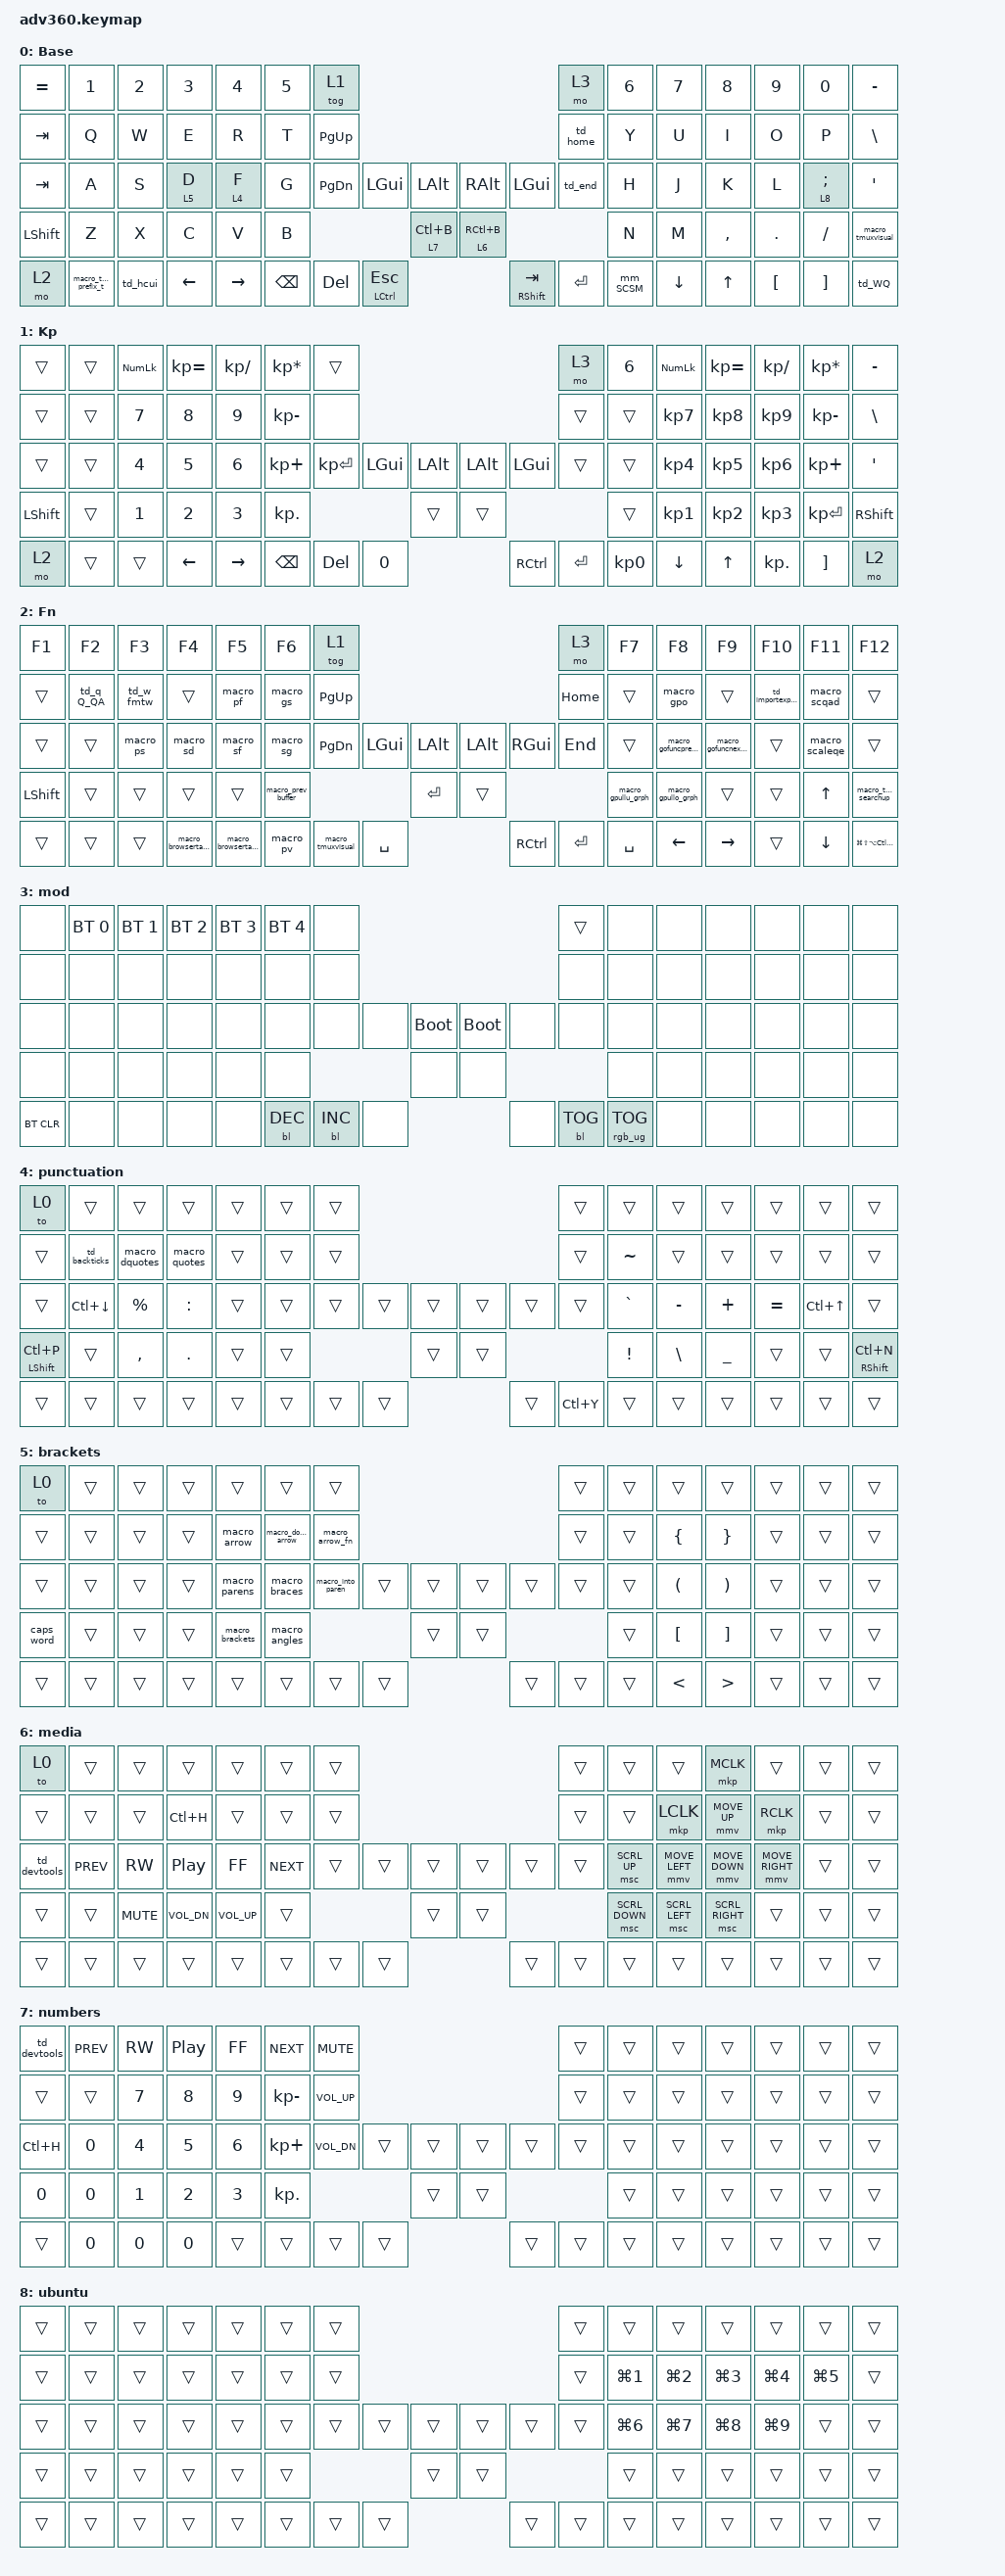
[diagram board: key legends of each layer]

/*
 * Copyright (c) 2020 The ZMK Contributors
 *
 * SPDX-License-Identifier: MIT
 */


/* THIS FILE WAS GENERATED!
 *
 * This file was generated automatically. You may or may not want to
 * edit it directly.
 */

#include <behaviors.dtsi>
#include <dt-bindings/zmk/keys.h>
#include <dt-bindings/zmk/bt.h>
#include <dt-bindings/zmk/backlight.h>
#include <dt-bindings/zmk/rgb.h>

/* Mouse Click Support
Reference: &mkp
|  ---------  |  ---------------|
|  MB1, LCLK  |  Left click     |
|  MB2, RCLK  |  Right click    |
|  MB3, MCLK  |  Middle click   |
|  MB4        |  Mouse button 4 |
|  MB5        |  Mouse button 5 |
*/

/* Mouse Move Support
Reference: &mmv
|  ---         |  ---         |
|  MOVE_UP     |  Move up     |
|  MOVE_DOWN   |  Move down   |
|  MOVE_LEFT   |  Move left   |
|  MOVE_RIGHT  |  Move right  |
Additionally, if you want to pass a different max speed than the
default for the MOVE_* defines, custom X and Y velocity values can be passed
with MOVE_X and MOVE_Y, e.g. MOVE_X(100) or MOVE_Y(-100). Positive values
indicate movement directions right or down. Note that the default value
of the max speed depends on the value of ZMK_POINTING_DEFAULT_MOVE_VAL.
*/

/* Mouse Scroll Support
Reference: &msc
SCRL_UP	Scroll up
SCRL_DOWN	Scroll down
SCRL_LEFT	Scroll left
SCRL_RIGHT	Scroll right
Additionally, if you want to pass a different max speed than the default
for the SCRL_* defines, custom X and Y velocity values can be passed
with MOVE_X and MOVE_Y, e.g. MOVE_X(5) or MOVE_Y(-5). Positive values
indicate scroll directions right or up. Note that the default value of
the max speed depends on the value of ZMK_POINTING_DEFAULT_SCRL_VAL.
*/

/*
Should you wish to override the default movement or scrolling max velocities,
you must define the defaults BEFORE including the header
*/
#define ZMK_POINTING_DEFAULT_MOVE_VAL 1100  // default: 600
#define ZMK_POINTING_DEFAULT_SCRL_VAL 15    // default: 10

#include <dt-bindings/zmk/pointing.h>

/ {
  behaviors {
    #include "macros.dtsi"
    #include "version.dtsi"

    hm: homerow_mods {
        compatible = "zmk,behavior-hold-tap";
        //label = "HOMEROW_MODS"; //deprecated
        #binding-cells = <2>;
        tapping-term-ms = <200>;
        //quick_tap_ms = <175>;  //deprecated
        flavor = "tap-preferred";
        bindings = <&kp>, <&kp>;
    };

    /*
    mm_MU: "modmap: minus underscore"
    Default:    MINUS
    +CTRL:      UNDERSCORE
    */
    mm_MU: mm_MU {
        compatible = "zmk,behavior-mod-morph";
        #binding-cells = <0>;
        bindings = <&kp MINUS>, <&kp UNDERSCORE>;
        mods = <(MOD_LCTL|MOD_RCTL)>;
    };

    /*
    mm_SMU: "modmap: space minus underscore"
    Default:    SPACE
    +SHFT:      MINUS
    +SHFT+CTRL: UNDERSCORE
    */
    mm_SMU: mm_SMU {
        compatible = "zmk,behavior-mod-morph";
        #binding-cells = <0>;
        bindings = <&kp SPACE>, <&mm_MU>;
        mods = <(MOD_LSFT|MOD_RSFT)>;
    };

    /*
    mm_SM: "modmap: space minus"
    Default:    SPACE
    +SHIFT:     MINUS
    */
    mm_SM: mm_SM {
        compatible = "zmk,behavior-mod-morph";
        #binding-cells = <0>;
        bindings = <&kp SPACE>, <&kp MINUS>;
        mods = <(MOD_LSFT|MOD_RSFT)>;
    };

    /*
    mm_Space_CSMinus: "modmap: space minus"
    Default:    SPACE
    +CTRL:      LC(SPACE)
    +SHFT+CTRL: MINUS
    Uses nested mod-morph: checks CTRL first, then SHIFT
    */
    mm_Space_CSMinus_inner: mm_Space_CSMinus_inner {
        compatible = "zmk,behavior-mod-morph";
        #binding-cells = <0>;
        bindings = <&kp LC(SPACE)>, <&kp MINUS>;
        mods = <(MOD_LSFT|MOD_RSFT)>;
    };

    mm_SCSM: mm_Space_CSMinus {
        compatible = "zmk,behavior-mod-morph";
        #binding-cells = <0>;
        bindings = <&kp SPACE>, <&mm_Space_CSMinus_inner>;
        mods = <(MOD_LCTL|MOD_RCTL)>;
    };

    /*
    td_WQ: "tap dance: writeall / quit"
    Single tap:    macro_writeall
    Double tap:    macro_quit
    */
    td_WQ: td_WQ {
        compatible = "zmk,behavior-tap-dance";
        #binding-cells = <0>;
        tapping-term-ms = <300>;
        bindings = <&macro_writeall>, <&macro_quit>;
    };

    /*
    td_SM: "tap dance: space minus"
    Single tap:    SPACE
    Double tap:    MINUS
    Tapping term: 135ms (my average time between a quick doubletap, but it goes as high as 135ms)
    */
    td_SM: td_SM {
        compatible = "zmk,behavior-tap-dance";
        #binding-cells = <0>;
        tapping-term-ms = <135>; // 120ms seems to be my average time between a quick doubletap, but it goes as high as 135ms
        bindings = <&kp SPACE>, <&kp MINUS>;
    };

    /*
    td_HCUI: "tap dance: thisisunsafe adminadmin"
    Single tap:    thisisunsafe
    Double tap:    adminadmin
    Tapping term: 200ms
    */
    td_hcui: td_hcui {
        compatible = "zmk,behavior-tap-dance";
        #binding-cells = <0>;
        tapping-term-ms = <200>;
        bindings = <&macro_thisisunsafe>, <&macro_adminadmin>;
    };

    /*
    td_CAPS: "tap dance: left shift / caps lock"
    Single tap:    Left Shift
    Double tap:    Caps Lock
    Tapping term: 250ms
    */
    td_caps: td_caps {
        compatible = "zmk,behavior-tap-dance";
        #binding-cells = <0>;
        tapping-term-ms = <250>;
        bindings = <&kp LSHIFT>, <&kp CAPSLOCK>;
    };

    /*
    td_DQT: "tap dance: double quote / single quote"
    Single tap:    '
    Double tap:    "
    Tapping term: 200ms
    */
    td_quotes: td_quotes {
        compatible = "zmk,behavior-tap-dance";
        #binding-cells = <0>;
        tapping-term-ms = <200>;
        bindings = <&kp SQT>, <&kp DQT>;
    };

    /*
    td_backticks: "tap dance: double backticks / triple backticks"
    Single tap:    ``
    Double tap:    ```\n```
    Tapping term: 200ms
    */
    td_backticks: td_backticks {
        compatible = "zmk,behavior-tap-dance";
        #binding-cells = <0>;
        tapping-term-ms = <200>;
        bindings = <&macro_dbackticks>, <&macro_tbackticks>;
    };

    /*
    td_EX_QS: "tap dance: exclamation / question"
    Single tap:    !
    Double tap:    ?
    Tapping term: 200ms
    */
    td_ex_qs: td_ex_qs {
        compatible = "zmk,behavior-tap-dance";
        #binding-cells = <0>;
        tapping-term-ms = <200>;
        bindings = <&kp EXCLAMATION>, <&kp QUESTION>;
    };

    /*
    td_C_LCc: "tap dance: C / Ctrl-C"
    Single tap:    C
    Double tap:    Ctrl-C
    Tapping term: 200ms
    */
    td_c_LCc: td_c_LCc {
        compatible = "zmk,behavior-tap-dance";
        #binding-cells = <0>;
        tapping-term-ms = <200>;
        bindings = <&kp C>, <&kp LC(C)>;
    };

    /*
    td_V_LCv: "tap dance: V / Ctrl-V"
    Single tap:    V
    Double tap:    Ctrl-V
    Tapping term: 200ms
    */
    td_v_LCv: td_v_LCv {
        compatible = "zmk,behavior-tap-dance";
        #binding-cells = <0>;
        tapping-term-ms = <200>;
        bindings = <&kp V>, <&kp LC(V)>;
    };

    /*
    td_q_Q_QA: "tap dance: q / quit / quit all"
    Single tap:    :q
    Double tap:    :q!
    Triple tap:    :qa!
    */
    td_q_Q_QA: td_q_Q_QA {
        compatible = "zmk,behavior-tap-dance";
        #binding-cells = <0>;
        tapping-term-ms = <300>;
        bindings = <&macro_quit>, <&macro_loudquit>, <&macro_loudquitall>;
    };

    /*
    td_W_FMTW: "tap dance: W / FmtW"
    Single tap:    W
    Double tap:     (reformat code in VSCode)
    Tapping term: 350ms
    */
    td_w_fmtw: td_w_fmtw {
        compatible = "zmk,behavior-tap-dance";
        #binding-cells = <0>;
        tapping-term-ms = <300>;
        bindings = <&macro_noaw>, <&macro_write>, <&macro_writeall>;
    };

    /*
    td_HOME: "tap dance: HOME / Ctrl-A"
    Single tap:    HOME
    Double tap:    Ctrl-A
    Tapping term: 150ms
    */
    td_home: td_home {
        compatible = "zmk,behavior-tap-dance";
        #binding-cells = <0>;
        tapping-term-ms = <150>;
        bindings = <&kp HOME>, <&kp LC(A)>;
    };

    /*
    td_END: "tap dance: END / Ctrl-E"
    Single tap:    END
    Double tap:    Ctrl-E
    Tapping term: 150ms
    */
    td_end: td_end {
        compatible = "zmk,behavior-tap-dance";
        #binding-cells = <0>;
        tapping-term-ms = <150>;
        bindings = <&kp END>, <&kp LC(E)>;
    };

    /*
    td_PGUP: "tap dance: PAGE UP"
    Single tap:    PAGE UP
    */
    td_pgup: td_pgup {
        compatible = "zmk,behavior-tap-dance";
        #binding-cells = <0>;
        tapping-term-ms = <200>;
        bindings = <&kp PG_UP>;
    };

    /*
    td_PGDN: "tap dance: PAGE DOWN"
    Single tap:    PAGE DOWN
    */
    td_pgdn: td_pgdn {
        compatible = "zmk,behavior-tap-dance";
        #binding-cells = <0>;
        tapping-term-ms = <200>;
        bindings = <&kp PG_DN>;
    };

    /*
    td_DEVTOOLS: "tap dance: devtools / chromium devtools"
    Single tap:    devtools (F12)
    Double tap:    chromium devtools (Ctrl-Shift-I)
    Tapping term: 200ms
    */
    td_devtools: td_devtools {
        compatible = "zmk,behavior-tap-dance";
        #binding-cells = <0>;
        tapping-term-ms = <200>;
        bindings = <&macro_devtools>, <&macro_devtoolchromium>;
    };

    /*
    td_IMPORTEXPORT: "tap dance: importexport / source / header"
    Single tap:    importexport (Ctrl-Shift-I)
    Double tap:    source/header (Ctrl-Shift-H)
    Tapping term: 200ms
    */
    td_importexport: td_importexport {
        compatible = "zmk,behavior-tap-dance";
        #binding-cells = <0>;
        tapping-term-ms = <200>;
        bindings = <&macro_importexport>;
    };

    /*
    custom mod-tap behavior to allow for tap-preferred behavior with macros
    usage examples:
    keymap {
        compatible = "zmk,keymap";
        default_layer {
            bindings = <
                &my_mt // Hold for modifier, Tap for macro
            >;
        };
    };
    */
    my_mt: my_mod_tap {
            compatible = "zmk,behavior-hold-tap";
            #binding-cells = <2>;
            flavor = "hold-preferred";
            tapping-term-ms = <200>;
            bindings = <&kp>, <&kp>;
    };

    /*
    Special handling needed to get a mod-tap-like behavior with macros
    mt_tmuxvisual: "mod-tap: RSHIFT / tmux visual mode"
    Hold:   RSHIFT
    Tap:    Ctrl-B, Enter (tmux visual mode)
    Usage example:
        keymap {
            compatible = "zmk,keymap";
            default_layer {
                bindings = <
                    &mt_tmuxvisual RSHIFT 0 // Hold for RSHIFT, Tap for macro
                >;
            };
        }
    */
    mt_tmuxvisual: mt_tmuxvisual {
        compatible = "zmk,behavior-hold-tap";
        #binding-cells = <2>;
        flavor = "tap-preferred";
        tapping-term-ms = <100>;
        bindings = <&kp>, <&macro_tmuxvisual>;
    };

  };

    keymap {
        compatible = "zmk,keymap";
// TEMPLATE
// bindings = <
// /*1*/   /*2*/   /*3*/   /*4*/   /*5*/   /*6*/   /*7*/  /**/ /*C1*/  /*C2*/  /*C3*/ /*|*/ /*C4*/  /*C5*/  /*C6*/ /**/ /*8*/  /*9*/   /*10*/  /*11*/  /*12*/   /*13*/   /*14*/
// &kp F1  &kp F2  &kp F3  &kp F4  &kp F5  &kp F6  &tog 1 /**/                        /*|*/                        /**/ &mo 3  &kp F7  &kp F8  &kp F9  &kp F10  &kp F11  &kp F12
// &trans  &trans  &trans  &trans  &trans  &trans  &none  /**/                        /*|*/                        /**/ &none  &trans  &trans  &trans  &trans   &trans   &trans
// &trans  &trans  &trans  &trans  &trans  &trans  &none  /**/         &trans  &trans /*|*/ &trans  &trans         /**/ &none  &trans  &trans  &trans  &trans   &trans   &trans
// &trans  &trans  &trans  &trans  &trans  &trans         /**/                 &trans /*|*/ &trans                 /**/        &trans  &trans  &trans  &trans   &trans   &trans
// &trans  &trans  &trans  &trans  &trans                 /**/ &trans  &trans  &trans /*|*/ &trans  &trans  &trans /**/                &trans  &trans  &trans   &trans   &trans
// >;

        /* layer 0 */
        default {
            display-name = "Base";
            bindings = <
/*1*/      /*2*/                 /*3*/     /*4*/     /*5*/      /*6*/   /*7*/     /**/ /*C1*/    /*C2*/    /*C3*/        /*|*/ /*C4*/         /*C5*/     /*C6*/   /**/ /*8*/     /*9*/   /*10*/    /*11*/     /*12*/    /*13*/      /*14*/
&kp EQUAL  &kp N1                &kp N2    &kp N3    &kp N4     &kp N5  &tog 1    /**/                                   /*|*/                                    /**/ &mo 3     &kp N6  &kp N7    &kp N8     &kp N9    &kp N0      &kp MINUS
&kp TAB    &kp Q                 &kp W     &kp E     &kp R      &kp T   &kp PG_UP /**/                                   /*|*/                                    /**/ &td_home  &kp Y   &kp U     &kp I      &kp O     &kp P       &kp BSLH
&kp TAB    &kp A                 &kp S     &lt 5 D   &lt 4 F    &kp G   &kp PG_DN /**/           &kp LGUI  &kp LALT      /*|*/ &kp RALT       &kp LGUI            /**/ &td_end   &kp H   &kp J     &kp K      &kp L     &lt 8 SEMI  &kp SQT
&kp LSHFT  &kp Z                 &kp X     &kp C     &kp V      &kp B             /**/                     &lt 7 LC(B)   /*|*/ &lt 6 RC(B)                        /**/           &kp N   &kp M     &kp COMMA  &kp DOT   &kp FSLH    &macro_tmuxvisual
&mo 2      &macro_tmux_prefix_t  &td_hcui  &kp LEFT  &kp RIGHT                    /**/ &kp BSPC  &kp DEL   &mt LCTRL ESC /*|*/ &mt RSHFT TAB  &kp ENTER  &mm_SCSM /**/                   &kp DOWN  &kp UP     &kp LBKT  &kp RBKT    &td_WQ
            >;
        };

        /* layer 1 */
        keypad {
            display-name = "Kp";
            bindings = <
/*1*/      /*2*/   /*3*/           /*4*/         /*5*/         /*6*/            /*7*/        /**/ /*C1*/    /*C2*/     /*C3*/ /*|*/ /*C4*/        /*C5*/    /*C6*/   /**/ /*8*/   /*9*/    /*10*/      /*11*/        /*12*/         /*13*/           /*14*/
&trans     &trans  &kp KP_NUMLOCK  &kp KP_EQUAL  &kp KP_SLASH  &kp KP_MULTIPLY  &trans       /**/                             /*|*/                                  /**/ &mo 3   &kp N6   &kp KP_NUM  &kp KP_EQUAL  &kp KP_DIVIDE  &kp KP_MULTIPLY  &kp MINUS
&trans     &trans  &kp N7          &kp N8        &kp N9        &kp KP_MINUS     &none        /**/                             /*|*/                                  /**/ &trans  &trans   &kp KP_N7   &kp KP_N8     &kp KP_N9      &kp KP_MINUS     &kp BSLH
&trans     &trans  &kp N4          &kp N5        &kp N6        &kp KP_PLUS      &kp KP_ENTER /**/           &kp LGUI  &kp LALT/*|*/ &kp LALT   &kp LGUI              /**/ &trans  &trans   &kp KP_N4   &kp KP_N5     &kp KP_N6      &kp KP_PLUS      &kp SQT
&kp LSHFT  &trans  &kp N1          &kp N2        &kp N3        &kp KP_DOT                    /**/                     &trans  /*|*/ &trans                           /**/         &trans   &kp KP_N1   &kp KP_N2     &kp KP_N3      &kp KP_ENTER     &kp RSHFT
&mo 2      &trans  &trans          &kp LEFT      &kp RIGHT                                   /**/ &kp BSPC  &kp DEL   &kp N0  /*|*/ &kp RCTRL  &kp ENTER  &kp KP_N0  /**/                  &kp DOWN    &kp UP        &kp KP_DOT     &kp RBKT         &mo 2
            >;
        };

        /* layer 2 */
        fn {
            display-name = "Fn";
            bindings = <
/*1*/       /*2*/       /*3*/       /*4*/                  /*5*/                   /*6*/               /*7*/     /**/ /*C1*/     /*C2*/             /*C3*/   /*|*/ /*C4*/     /*C5*/     /*C6*/    /**/ /*8*/     /*9*/               /*10*/                  /*11*/                  /*12*/            /*13*/          /*14*/
&kp F1      &kp F2      &kp F3      &kp F4                 &kp F5                  &kp F6              &tog 1    /**/                                        /*|*/                                 /**/ &mo 3     &kp F7              &kp F8                  &kp F9                  &kp F10           &kp F11         &kp F12
&trans      &td_q_Q_QA  &td_w_fmtw  &trans                 &macro_pf               &macro_gs           &kp PG_UP /**/                                        /*|*/                                 /**/ &kp HOME  &trans              &macro_gpo              &trans                  &td_importexport  &macro_scqad    &trans
&trans      &trans      &macro_ps   &macro_sd              &macro_sf               &macro_sg           &kp PG_DN /**/            &kp LGUI           &kp LALT /*|*/ &kp LALT   &kp RGUI             /**/ &kp END   &trans              &macro_gofuncprevstart  &macro_gofuncnextstart  &trans            &macro_scaleqe  &trans
&kp LSHIFT  &trans      &trans      &trans                 &trans                  &macro_prev_buffer            /**/                               &kp ENTER/*|*/ &trans                          /**/           &macro_gpullu_grph  &macro_gpullo_grph      &trans                  &trans            &kp UP          &macro_tmux_searchup
&trans      &trans      &trans      &macro_browsertableft  &macro_browsertabright                                /**/ &macro_pv  &macro_tmuxvisual  &kp SPACE/*|*/ &kp RCTRL  &kp ENTER  &kp SPACE /**/                               &kp LEFT                &kp RIGHT               &trans            &kp DOWN        &kp LG(LS(LA(LC(W))))
            >;
        };

        /* layer 3 */
        mod {
            bindings = <
 /*1*/       /*2*/         /*3*/         /*4*/         /*5*/         /*6*/         /*7*/  /**/ /*C1*/      /*C2*/      /*C3*/      /*|*/ /*C4*/       /*C5*/      /*C6*/          /**/ /*8*/   /*9*/   /*10*/  /*11*/  /*12*/  /*13*/  /*14*/
 &none       &bt BT_SEL 0  &bt BT_SEL 1  &bt BT_SEL 2  &bt BT_SEL 3  &bt BT_SEL 4  &none  /**/                                     /*|*/                                          /**/ &trans  &none   &none   &none   &none   &none   &none
 &none       &none         &none         &none         &none         &none         &none  /**/                                     /*|*/                                          /**/ &none   &none   &none   &none   &none   &none   &none
 &none       &none         &none         &none         &none         &none         &none  /**/             &none       &bootloader /*|*/ &bootloader  &none                       /**/ &none   &none   &none   &none   &none   &none   &none
 &none       &none         &none         &none         &none         &none                /**/                         &none       /*|*/ &none                                    /**/         &none   &none   &none   &none   &none   &none
 &bt BT_CLR  &none         &none         &none         &none                              /**/ &bl BL_DEC  &bl BL_INC  &none       /*|*/ &none        &bl BL_TOG  &rgb_ug RGB_TOG /**/                 &none   &none   &none   &none   &none
            >;
        };

        /* layer 4 */
        punctuation {
            bindings = <
/*1*/   /*2*/   /*3*/   /*4*/   /*5*/   /*6*/   /*7*/  /**/ /*C1*/  /*C2*/  /*C3*/                                      /*|*/ /*C4*/  /*C5*/  /*C6*/ /**/ /*8*/  /*9*/   /*10*/  /*11*/  /*12*/   /*13*/   /*14*/
&to 0                 &trans         &trans          &trans          &trans  &trans  &trans /**/                        /*|*/                            /**/  &trans  &trans           &trans         &trans          &trans     &trans      &trans
&trans                &td_backticks  &macro_dquotes  &macro_quotes   &trans  &trans  &trans /**/                        /*|*/                            /**/  &trans  &kp TILDE        &trans         &trans          &trans     &trans      &trans
&trans                &kp LC(DOWN)   &kp PERCENT     &kp COLON       &trans  &trans  &trans /**/         &trans  &trans /*|*/ &trans  &trans             /**/  &trans  &kp GRAVE        &kp MINUS      &kp PLUS        &kp EQUAL  &kp LC(UP)  &trans
&mt LEFT_SHIFT LC(P)  &trans         &kp COMMA       &kp PERIOD      &trans  &trans         /**/                 &trans /*|*/ &trans                     /**/          &kp EXCLAMATION  &kp BACKSLASH  &kp UNDERSCORE  &trans     &trans      &mt RIGHT_SHIFT LC(N)
&trans                &trans         &trans          &trans          &trans                 /**/ &trans  &trans  &trans /*|*/ &trans  &kp LC(Y)  &trans  /**/                           &trans         &trans          &trans     &trans      &trans
            >;
        };

        /* layer 5 */
        brackets {
            bindings = <
/*1*/       /*2*/   /*3*/   /*4*/   /*5*/            /*6*/                  /*7*/             /**/ /*C1*/  /*C2*/  /*C3*/ /*|*/ /*C4*/  /*C5*/  /*C6*/ /**/ /*8*/   /*9*/   /*10*/                /*11*/                 /*12*/  /*13*/  /*14*/
&to 0       &trans  &trans  &trans  &trans           &trans                 &trans            /**/                        /*|*/                        /**/ &trans  &trans  &trans                &trans                 &trans  &trans  &trans
&trans      &trans  &trans  &trans  &macro_arrow     &macro_double_arrow    &macro_arrow_fn   /**/                        /*|*/                        /**/ &trans  &trans  &kp LEFT_BRACE        &kp RIGHT_BRACE        &trans  &trans  &trans
&trans      &trans  &trans  &trans  &macro_parens    &macro_braces          &macro_into_paren /**/         &trans  &trans /*|*/ &trans  &trans         /**/ &trans  &trans  &kp LEFT_PARENTHESIS  &kp RIGHT_PARENTHESIS  &trans  &trans  &trans
&caps_word  &trans  &trans  &trans  &macro_brackets  &macro_angles                            /**/                 &trans /*|*/ &trans                 /**/         &trans  &kp LEFT_BRACKET      &kp RIGHT_BRACKET      &trans  &trans  &trans
&trans      &trans  &trans  &trans  &trans                                                    /**/ &trans  &trans  &trans /*|*/ &trans  &trans  &trans /**/                 &kp LT                &kp GT                 &trans  &trans  &trans
           >;
        };

        /* layer 6 */
        media {
            bindings = <
/*1*/         /*2*/       /*3*/         /*4*/         /*5*/         /*6*/       /*7*/   /**/ /*C1*/  /*C2*/  /*C3*/ /*|*/ /*C4*/  /*C5*/  /*C6*/ /**/ /*8*/   /*9*/           /*10*/          /*11*/           /*12*/           /*13*/  /*14*/
&to 0         &trans      &trans        &trans        &trans        &trans      &trans  /**/                        /*|*/                        /**/ &trans  &trans          &trans          &mkp MCLK        &trans           &trans  &trans
&trans        &trans      &trans        &kp LC(H)     &trans        &trans      &trans  /**/                        /*|*/                        /**/ &trans  &trans          &mkp LCLK       &mmv MOVE_UP     &mkp RCLK        &trans  &trans
&td_devtools  &kp C_PREV  &kp C_RW      &kp C_PP      &kp C_FF      &kp C_NEXT  &trans  /**/         &trans  &trans /*|*/ &trans  &trans         /**/ &trans  &msc SCRL_UP    &mmv MOVE_LEFT  &mmv MOVE_DOWN   &mmv MOVE_RIGHT  &trans  &trans
&trans        &trans      &kp C_MUTE    &kp C_VOL_DN  &kp C_VOL_UP  &trans              /**/                 &trans /*|*/ &trans                 /**/         &msc SCRL_DOWN  &msc SCRL_LEFT  &msc SCRL_RIGHT  &trans           &trans  &trans
&trans        &trans      &trans        &trans        &trans                            /**/ &trans  &trans  &trans /*|*/ &trans  &trans  &trans /**/                         &trans          &trans           &trans           &trans  &trans
            >;
        };

        /* layer 7 */
        numbers {
            bindings = <
/*1*/         /*2*/         /*3*/         /*4*/         /*5*/         /*6*/         /*7*/        /**/ /*C1*/   /*C2*/  /*C3*/ /*|*/ /*C4*/  /*C5*/  /*C6*/ /**/ /*8*/   /*9*/   /*10*/  /*11*/  /*12*/  /*13*/  /*14*/
&td_devtools  &kp C_PREV    &kp C_RW      &kp C_PP      &kp C_FF      &kp C_NEXT    &kp C_MUTE   /**/                         /*|*/                        /**/ &trans  &trans  &trans  &trans  &trans  &trans  &trans
&trans        &trans        &kp NUMBER_7  &kp NUMBER_8  &kp NUMBER_9  &kp KP_MINUS  &kp C_VOL_UP /**/                         /*|*/                        /**/ &trans  &trans  &trans  &trans  &trans  &trans  &trans
&kp LC(H)     &kp NUMBER_0  &kp NUMBER_4  &kp NUMBER_5  &kp NUMBER_6  &kp KP_PLUS   &kp C_VOL_DN /**/          &trans  &trans /*|*/ &trans  &trans         /**/ &trans  &trans  &trans  &trans  &trans  &trans  &trans
&kp NUMBER_0  &kp NUMBER_0  &kp NUMBER_1  &kp NUMBER_2  &kp NUMBER_3  &kp KP_DOT                 /**/                  &trans /*|*/ &trans                 /**/         &trans  &trans  &trans  &trans  &trans  &trans
&trans        &kp NUMBER_0  &kp NUMBER_0  &kp NUMBER_0        &trans                             /**/  &trans  &trans  &trans /*|*/ &trans  &trans  &trans /**/                 &trans  &trans  &trans  &trans  &trans
            >;
        };

        /* layer 8 */
        ubuntu {
            bindings = <
/*1*/   /*2*/   /*3*/   /*4*/   /*5*/   /*6*/   /*7*/  /**/ /*C1*/  /*C2*/  /*C3*/  /*|*/  /*C4*/  /*C5*/ /*C6*/ /**/  /*8*/   /*9*/       /*10*/      /*11*/      /*12*/      /*13*/      /*14*/
&trans  &trans  &trans  &trans  &trans  &trans  &trans /**/                         /*|*/                        /**/  &trans  &trans      &trans      &trans      &trans      &trans      &trans
&trans  &trans  &trans  &trans  &trans  &trans  &trans /**/                         /*|*/                        /**/  &trans  &kp LG(N1)  &kp LG(N2)  &kp LG(N3)  &kp LG(N4)  &kp LG(N5)  &trans
&trans  &trans  &trans  &trans  &trans  &trans  &trans /**/          &trans  &trans /*|*/ &trans  &trans         /**/  &trans  &kp LG(N6)  &kp LG(N7)  &kp LG(N8)  &kp LG(N9)  &trans      &trans
&trans  &trans  &trans  &trans  &trans  &trans         /**/                  &trans /*|*/ &trans                 /**/          &trans      &trans      &trans      &trans      &trans      &trans
&trans  &trans  &trans  &trans  &trans                 /**/  &trans  &trans  &trans /*|*/ &trans  &trans  &trans /**/                      &trans      &trans      &trans      &trans      &trans
            >;
        };

        /* layer 9 */
        extra1 {
          display-name = "Red";
          status = "reserved";
        };

        /* layer 10 */
        extra2 {
          display-name = "Purple";
          status = "reserved";
        };

        /* layer 11 */
        extra3 {
          display-name = "Cyan";
          status = "reserved";
        };

        /* layer 12 */
        extra4 {
          display-name = "Yellow";
          status = "reserved";
        };
    };
};
